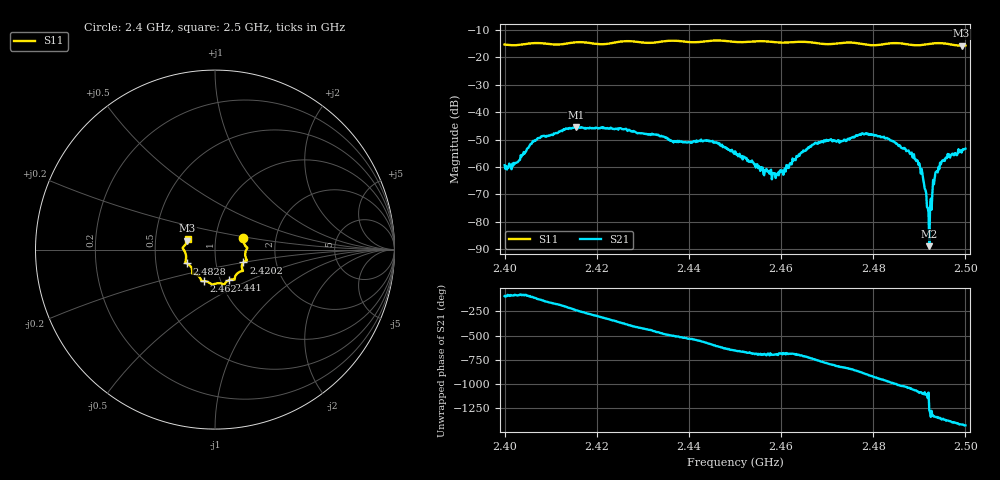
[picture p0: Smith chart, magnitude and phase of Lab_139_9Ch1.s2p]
# Hz S RI R
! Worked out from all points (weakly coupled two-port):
!   601 points, 2.4 GHz to 2.5 GHz, reference 50 ohm
!   highest |S21| = -45.47 dB at 2.4155 GHz (marker M1); lowest = -88.9 dB at 2.4922 GHz (marker M2)
!   lowest |S11| = -15.8 dB at 2.4992 GHz (marker M3), VSWR 1.39, Z = 36.5 + j3.67 ohm
!   |S11| at or under -10 dB: start of sweep to end of sweep
!   S12 and S22 are empty: the file has one direction only
!   S11 on the Smith chart (normalised r, x): 2.4 GHz: 1.36, +0.17; 2.4202 GHz: 1.36, -0.20; 2.441 GHz: 1.10, -0.39; 2.462 GHz: 0.84, -0.30; 2.4828 GHz: 0.72, -0.11; 2.5 GHz: 0.73, +0.09
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2.4e9  0.1579 0.0624  -4.78e-05 -0.00107  0 0  0 0
2.402833e9  0.1632 0.0298  8.44e-05 -0.00122  0 0  0 0
2.407667e9  0.1802 0.008  -0.00207 -0.00265  0 0  0 0
2.4155e9  0.1774 -0.0579  -0.00282 0.00452  0 0  0 0
2.416667e9  0.1777 -0.0604  -0.00157 0.00507  0 0  0 0
2.420167e9  0.1582 -0.0713  0.00255 0.00448  0 0  0 0
2.433333e9  0.112 -0.1512  -0.000931 -0.00375  0 0  0 0
2.441e9  0.0783 -0.1698  -0.00296 -9.28e-05  0 0  0 0
2.45e9  0.0284 -0.1877  0.000781 0.00176  0 0  0 0
2.4585e9  -0.0287 -0.186  0.000691 0.000337  0 0  0 0
2.462e9  -0.0603 -0.1758  0.000985 0.000646  0 0  0 0
2.466667e9  -0.0784 -0.1681  0.00244 -0.00059  0 0  0 0
2.478e9  -0.1272 -0.1152  -0.00385 -0.000718  0 0  0 0
2.482833e9  -0.1574 -0.0771  -0.00132 0.00308  0 0  0 0
2.483333e9  -0.1605 -0.0757  -0.000978 0.0031  0 0  0 0
2.489667e9  -0.1624 -0.028  0.00129 0.0001  0 0  0 0
2.4905e9  -0.1654 -0.0171  0.000911 -0.000124  0 0  0 0
2.492167e9  -0.1745 -0.000647  -3.59e-05 3.36e-06  0 0  0 0
2.493333e9  -0.1793 0.00601  -0.000167 0.000598  0 0  0 0
2.494667e9  -0.1798 0.0113  8.96e-05 0.00111  0 0  0 0
2.499167e9  -0.1546 0.0491  0.00166 0.000758  0 0  0 0
2.5e9  -0.1522 0.0609  0.00208 0.000551  0 0  0 0
